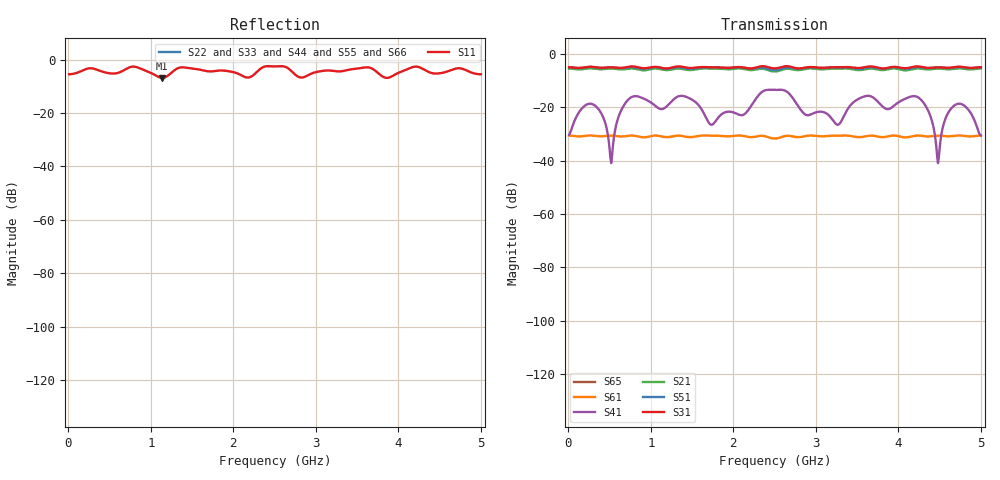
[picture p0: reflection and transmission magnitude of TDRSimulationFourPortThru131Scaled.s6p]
# MHz MA S R 50.0
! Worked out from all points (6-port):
!   500 points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, 10 MHz to 5 GHz, reference 50 ohm
!   strongest paths, dB at 10 MHz, 1.26 GHz, 2.51 GHz, 3.76 GHz, 5 GHz:
!     S31: -5.1, -5.2, -5.5, -5.3, -5.1
!     S51: -5.1, -5.4, -6.2, -5.5, -5.1
!     S21: -5.5, -5.9, -6.7, -6.0, -5.5
!     S41: -30.4, -17.6, -13.6, -18.2, -30.6
!     S61: -30.6, -31.0, -31.8, -31.1, -30.6
!     S65: -, -, -, -, -
!   lowest |S11| = -6.9 dB at 1.14 GHz (marker M1), VSWR 2.65, Z = 65.8 - j56 ohm
!   |S11| at or under -10 dB: nowhere
